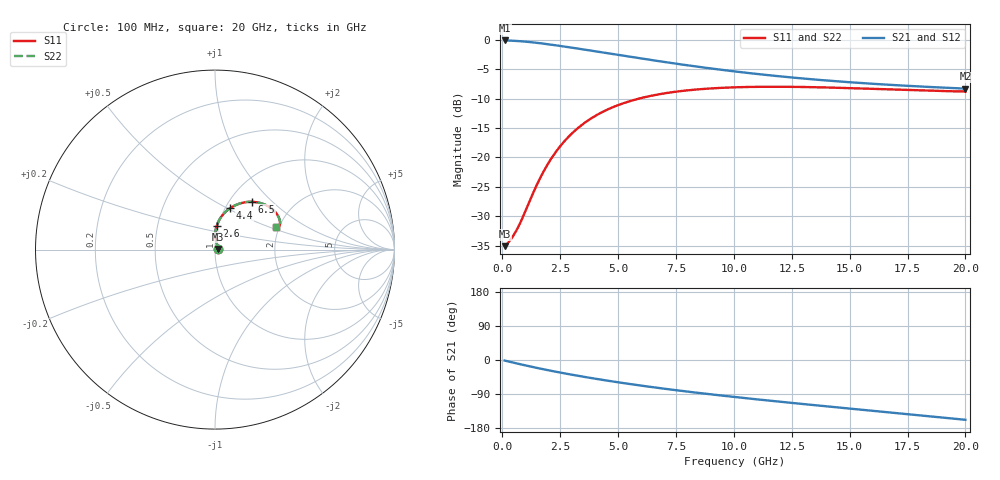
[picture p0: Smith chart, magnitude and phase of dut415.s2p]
! Touchstone file exported from HFSS 2024.1.0
!  File:  C:/UserFiles/LocalFiles/RDL_TSV_Batchsim/temp_RDL_TSV_415_1779715480.aedt
!  Generated:  09:40:58 PM May 25, 2026
!  Design:  RDL_TSV
!  Project:  temp_RDL_TSV_415_1779715480
!  Setup:  Setup1
!  Solution:  Sweep
! Variables:
!  dtsv = 8.02um
!  hbump = 3um
!  htsv = 83.77um
!  ldown = 177.87um
!  lrdl = 355.83um
!  p = 40
!  p1 = 58.05um
!  rhole = 10um
!  subl = 1956.93um
!  t = 450um
!  tdown = 2.28um
!  trdl = 3.15um
!  viad = 10um
!  wdown = 11.11um
!  wrdl = 17.13um
!  xbump = 18um
# GHz S MA R 50.000000
! Terminal data exported
! Port[1] = TM1_1_T1
! Port[2] = TM1_4_T1
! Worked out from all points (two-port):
!   200 points, 100 MHz to 20 GHz, reference 50 ohm
!   highest |S21| = -0.16 dB at 100 MHz (marker M1); lowest = -8.3 dB at 20 GHz (marker M2)
!   |S21| within 3 dB of the highest: start of sweep to 5.911 GHz
!   lowest |S11| = -35.0 dB at 100 MHz (marker M3), VSWR 1.04, Z = 51.8 + j0.326 ohm
!   |S11| at or under -10 dB: start of sweep to 5.917 GHz
!   |S22| runs from -35.0 to -8.0 dB; largest |S21 - S12| = 1.5e-14
!   S11 on the Smith chart (normalised r, x): 100 MHz: 1.04, +0.01; 2.6 GHz: 0.98, +0.26; 4.4 GHz: 1.06, +0.52; 6.5 GHz: 1.26, +0.76; 20 GHz: 1.93, +0.55
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0.1  0.01771 10.2  0.9822 -1.5  0.9822 -1.5  0.01771 10.2
! Gamma 0 0 0 0
! Port Impedance 50 0 50 0
0.3  0.01942 28.5  0.9799 -4.4  0.9799 -4.4  0.01942 28.5
0.6  0.02389 51.1  0.9732 -8.7  0.9732 -8.7  0.02388 51.1
0.8  0.02859 63.8  0.967 -11.5  0.967 -11.5  0.02858 63.8
1.4  0.05357 85.1  0.9421 -19.6  0.9421 -19.6  0.05357 85.2
1.7  0.07093 88.4  0.927 -23.5  0.927 -23.5  0.07093 88.4
2  0.09024 88.9  0.9109 -27.2  0.9109 -27.2  0.09025 89.0
2.3  0.1107 88.0  0.894 -30.8  0.894 -30.8  0.1107 88.0
2.6  0.1316 86.1  0.8768 -34.3  0.8768 -34.3  0.1317 86.2
3  0.1595 82.8  0.8536 -38.8  0.8536 -38.8  0.1595 82.9
3.5  0.193 78.2  0.8246 -44.1  0.8246 -44.1  0.1931 78.3
4.4  0.2472 69.7  0.7739 -53.2  0.7739 -53.2  0.2473 69.7
5.4  0.2958 60.9  0.7208 -62.4  0.7208 -62.4  0.296 60.9
6.5  0.3357 52.5  0.6676 -71.8  0.6676 -71.8  0.3359 52.5
6.8  0.3443 50.4  0.6541 -74.2  0.6541 -74.2  0.3446 50.5
8.4  0.3773 40.9  0.5897 -86.3  0.5897 -86.3  0.3776 41.0
10.1  0.3939 33.2  0.5348 -98.0  0.5348 -98.0  0.3942 33.3
11.7  0.398 27.8  0.4939 -108.3  0.4939 -108.3  0.3983 27.8
13.4  0.3946 23.6  0.4598 -118.7  0.4598 -118.7  0.395 23.7
15  0.3873 21.0  0.4346 -128.2  0.4346 -128.2  0.3876 21.1
16.7  0.3776 19.5  0.4134 -138.2  0.4134 -138.2  0.378 19.6
20  0.3626 20.0  0.3836 -157.8  0.3836 -157.8  0.363 20.1
